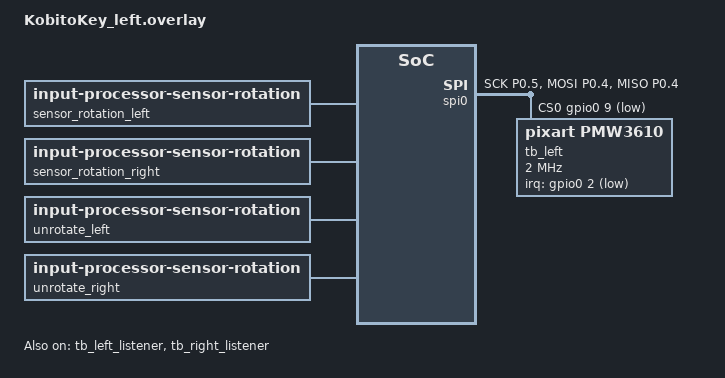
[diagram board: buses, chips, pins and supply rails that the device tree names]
#include "kobitokey.dtsi"
#include <zephyr/dt-bindings/input/input-event-codes.h>
#include <input/processors.dtsi>
#include <input/processors/sensor_rotation.dtsi>

&xiao_serial { status = "disabled"; };

&pinctrl {
    spi0_default: spi0_default {
        group1 {
            psels = <NRF_PSEL(SPIM_SCK,  0, 5)>,
                    <NRF_PSEL(SPIM_MOSI, 0, 4)>,
                    <NRF_PSEL(SPIM_MISO, 0, 4)>;
        };
    };
    spi0_sleep: spi0_sleep {
        group1 {
            psels = <NRF_PSEL(SPIM_SCK,  0, 5)>,
                    <NRF_PSEL(SPIM_MOSI, 0, 4)>,
                    <NRF_PSEL(SPIM_MISO, 0, 4)>;
            low-power-enable;
        };
    };
};

&spi0 {
    status = "okay";
    compatible = "nordic,nrf-spim";
    pinctrl-0 = <&spi0_default>;
    pinctrl-1 = <&spi0_sleep>;
    pinctrl-names = "default", "sleep";
    cs-gpios = <&gpio0 9 GPIO_ACTIVE_LOW>;

    tb_left: trackball@0 {
        status = "okay";
        compatible = "pixart,pmw3610";
        reg = <0>;
        spi-max-frequency = <2000000>;
        irq-gpios = <&gpio0 2 (GPIO_ACTIVE_LOW | GPIO_PULL_UP)>;
        cpi = <400>; 

        evt-type = <INPUT_EV_REL>;
        x-input-code = <INPUT_REL_X>;
        y-input-code = <INPUT_REL_Y>;
    };
};

/ {
    /* 回転補正（通常カーソル移動用） */
    sensor_rotation_left: sensor-rotation-left {
        compatible = "zmk,input-processor-sensor-rotation";
        status = "okay";
        #input-processor-cells = <0>;
        rotation-angle = <(-24)>;
    };

    sensor_rotation_right: sensor-rotation-right {
        compatible = "zmk,input-processor-sensor-rotation";
        #input-processor-cells = <0>;
        status = "okay";
        rotation-angle = <24>;
    };

    /* スクロールをフラットにするための逆回転プロセッサ */
    unrotate_left: unrotate_left {
        compatible = "zmk,input-processor-sensor-rotation";
        status = "okay";
        #input-processor-cells = <0>;
        rotation-angle = <24>;
    };

    unrotate_right: unrotate_right {
        compatible = "zmk,input-processor-sensor-rotation";
        status = "okay";
        #input-processor-cells = <0>;
        rotation-angle = <(-24)>;
    };

    /* AML (Auto Mouse Layer) 定義 (ターゲット: layer_1, 維持時間: 640ms) */
    zip_aml: zip_aml {
        compatible = "zmk,input-processor-temp-layer";
        #input-processor-cells = <2>;
        require-prior-idle-ms = <350>;
    };

    /* 縦スクロール専用スケーラー */
    scroll_v: scroll_v {
        compatible = "zmk,input-processor-scaler";
        #input-processor-cells = <2>;
        type = <INPUT_EV_REL>;
        codes = <INPUT_REL_WHEEL>;
    };

    /* 横スクロール専用スケーラー */
    scroll_h: scroll_h {
        compatible = "zmk,input-processor-scaler";
        #input-processor-cells = <2>;
        type = <INPUT_EV_REL>;
        codes = <INPUT_REL_HWHEEL>;
    };
};

&zip_aml {
    /* 現在のlayer_1のクリックボタンの位置（16, 17, 18）を除外指定して守る */
    excluded-positions = <16 17 18>;
};

/* ==========================================================================
   左トラックボール用：デフォルトは縦スクロール / レイヤー3で横スクロール
   ========================================================================== */
&tb_left_listener {
    status = "okay";
    device = <&tb_left>;
    input-processors =
        <&sensor_rotation_left>,
        <&zip_aml 1 640>, 
        <&unrotate_left>, 
        <&zip_xy_to_scroll_mapper>, 
        <&zip_scroll_transform INPUT_TRANSFORM_X_INVERT>,
        <&zip_scroll_transform INPUT_TRANSFORM_Y_INVERT>,
        /* デフォルト設定: 縦を1/4倍速にし、横を0倍（完全カット）にする */
        <&scroll_v 1 4>,
        <&scroll_h 0 1>;

    /* レイヤー3：横スクロール */
    horiz_scroll {
        layers = <3>;
        input-processors =
            <&sensor_rotation_left>,
            <&zip_aml 1 640>,
            <&unrotate_left>, 
            <&zip_xy_to_scroll_mapper>,
            <&zip_scroll_transform INPUT_TRANSFORM_Y_INVERT>,
            /* レイヤー3左設定: 縦を0倍（カット）にし、横を1/4倍速にする */
            <&scroll_v 0 1>,
            <&scroll_h 1 4>;
    };
};

/* ==========================================================================
   右トラックボール用：デフォルトカーソル / レイヤー2で速度2倍 / レイヤー3で自由スクロール
   ========================================================================== */
&tb_right_listener {
    status = "okay";
    input-processors =
        <&sensor_rotation_right>,
        <&zip_aml 1 640>;

    /* レイヤー2のときはカーソル速度を倍化 */
    fast_cursor {
        layers = <2>;
        input-processors =
            <&sensor_rotation_right>,
            <&zip_aml 1 640>,
            <&zip_xy_scaler 2 1>; /* 速度を2倍(2/1)にする */
    };

    /* レイヤー3のときは縦横自在な自由スクロール化 */
    free_scroll {
        layers = <3>;
        input-processors =
            <&sensor_rotation_right>,
            <&zip_aml 1 640>,
            <&unrotate_right>, 
            <&zip_xy_to_scroll_mapper>,
            /* ★修正：右自由スクロールの横も逆だったため、X_INVERT を削除して Y 反転のみ適用 */
            <&zip_scroll_transform INPUT_TRANSFORM_Y_INVERT>,
            /* 右自由スクロール設定: 縦横ともに1/4倍速に落とす */
            <&scroll_v 1 4>,
            <&scroll_h 1 4>;
    };
};
